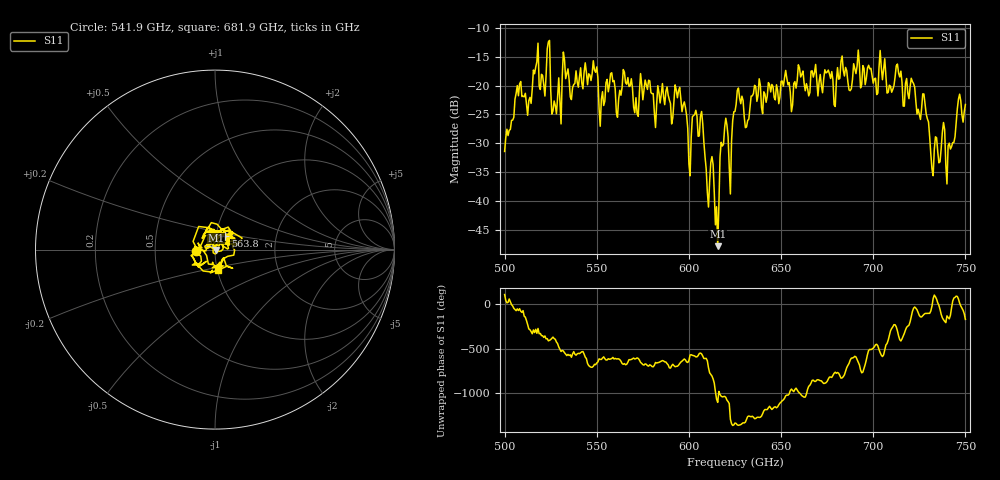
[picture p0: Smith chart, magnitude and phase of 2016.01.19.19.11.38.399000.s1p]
!Created with skrf (http://scikit-rf.org).
# GHz S RI R 50.0
!freq ReS11 ImS11
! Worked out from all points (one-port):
!   401 points, 500 GHz to 750 GHz, reference 50 ohm
!   lowest |S11| = -47.9 dB at 615.6 GHz (marker M1), VSWR 1.01, Z = 50.4 - j0.137 ohm
!   |S11| at or under -10 dB: start of sweep to end of sweep
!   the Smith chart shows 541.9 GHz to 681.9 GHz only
!   S11 on the Smith chart (normalised r, x): 541.9 GHz: 0.81, -0.01; 563.8 GHz: 1.11, +0.17; 681.9 GHz: 1.01, -0.23
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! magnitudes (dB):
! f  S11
! 500 GHz  -31.4
! 513.1 GHz  -22.6
! 516.9 GHz  -16.8
! 520.6 GHz  -18.3
! 523.8 GHz  -12.4
! 526.9 GHz  -22.7
! 531.2 GHz  -18.5
! 541.9 GHz  -19.5
! 562.5 GHz  -20.8
! 563.8 GHz  -20.3
! 571.2 GHz  -22.1
! 593.8 GHz  -22.1
! 600 GHz  -33.6
! 606.9 GHz  -24.5
! 610 GHz  -38.5
! 615.6 GHz  -47.9
! 618.8 GHz  -30.2
! 622.5 GHz  -38.8
! 625 GHz  -24.5
! 656.2 GHz  -23.3
! 681.9 GHz  -18.7
! 687.5 GHz  -20.9
! 718.8 GHz  -21.3
! 728.1 GHz  -23.2
! 731.9 GHz  -34.5
! 740.6 GHz  -30.5
! 746.2 GHz  -22.3
! 750 GHz  -23.3
